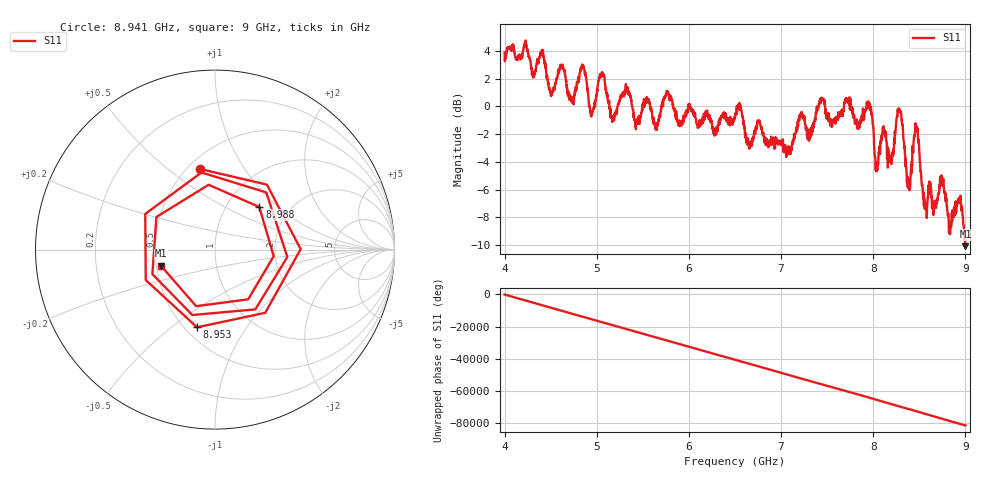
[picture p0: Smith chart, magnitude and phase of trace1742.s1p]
! Created with skrf 1.8.0 (http://scikit-rf.org).
# Hz S RI R 50.0
!freq ReS11 ImS11
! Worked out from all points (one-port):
!   1601 points, 4 GHz to 9 GHz, reference 50 ohm
!   lowest |S11| = -10.1 dB at 9 GHz (marker M1), VSWR 1.91, Z = 26.5 - j5.32 ohm
!   |S11| at or under -10 dB: 8.999594 GHz to end of sweep
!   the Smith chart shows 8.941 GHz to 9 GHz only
!   S11 on the Smith chart (normalised r, x): 8.941 GHz: 0.58, +0.65; 8.953 GHz: 0.57, -0.62; 8.988 GHz: 1.42, +0.76; 9 GHz: 0.53, -0.11
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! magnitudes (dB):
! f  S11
! 4 GHz  3.9
! 4.406 GHz  4.1
! 4.506 GHz  0.9
! 4.625 GHz  3.0
! 4.728 GHz  0.6
! 4.853 GHz  3.0
! 4.944 GHz  -0.7
! 5.056 GHz  2.5
! 5.162 GHz  -0.8
! 5.25 GHz  0.5
! 5.775 GHz  1.0
! 5.875 GHz  -1.0
! 6.5 GHz  -0.8
! 7.125 GHz  -2.5
! 7.438 GHz  0.4
! 7.75 GHz  0.4
! 7.962 GHz  0.2
! 8.038 GHz  -4.7
! 8.112 GHz  -1.4
! 8.2 GHz  -4.1
! 8.284 GHz  -0.3
! 8.375 GHz  -5.8
! 8.469 GHz  -1.4
! 8.562 GHz  -7.0
! 8.941 GHz  -6.8
! 8.953 GHz  -7.0
! 8.988 GHz  -9.3
! 9 GHz  -10.1
